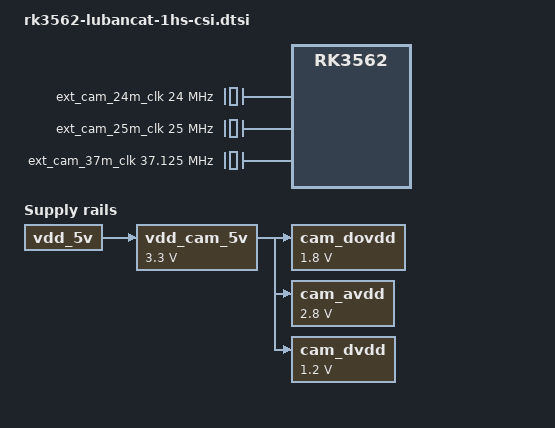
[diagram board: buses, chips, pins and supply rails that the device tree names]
// SPDX-License-Identifier: (GPL-2.0+ OR MIT)
/*
* Copyright (c) 2024 Rockchip Electronics Co., Ltd.
* Copyright (c) 2024 EmbedFire <embedfire@embedfire.com>
*
*/


/ {
	ext_cam_24m_clk: external-camera-24m-clock {
		compatible = "fixed-clock";
		#clock-cells = <0>;
		clock-frequency = <24000000>;
		clock-output-names = "ext_cam_24m_clk";
	};

	ext_cam_25m_clk: external-camera-25m-clock {
		compatible = "fixed-clock";
		clock-frequency = <25000000>;
		clock-output-names = "ext_cam_25m_clk";
		#clock-cells = <0>;
	};

	ext_cam_37m_clk: external-camera-37m-clock {
		compatible = "fixed-clock";
		#clock-cells = <0>;
		clock-frequency = <37125000>;
		clock-output-names = "ext_cam_37m_clk";
	};

	vdd_cam_5v: vdd-cam-5v-regulator {
		compatible = "regulator-fixed";
		regulator-name = "vdd_cam_5v";
		regulator-always-on;
		regulator-boot-on;
		regulator-min-microvolt = <3300000>;
		regulator-max-microvolt = <3300000>;
		vin-supply = <&vdd_5v>;
	};

	cam_dovdd: cam-dovdd {
		compatible = "regulator-fixed";
		regulator-name = "cam_dovdd";
		regulator-always-on;
		regulator-boot-on;
		regulator-min-microvolt = <1800000>;
		regulator-max-microvolt = <1800000>;
		vin-supply = <&vdd_cam_5v>;
	};

	cam_avdd: cam-avdd {
		compatible = "regulator-fixed";
		regulator-name = "cam_avdd";
		regulator-always-on;
		regulator-boot-on;
		regulator-min-microvolt = <2800000>;
		regulator-max-microvolt = <2800000>;
		vin-supply = <&vdd_cam_5v>;
	};

	cam_dvdd: cam-dvdd {
		compatible = "regulator-fixed";
		regulator-name = "cam_dvdd";
		regulator-always-on;
		regulator-boot-on;
		regulator-min-microvolt = <1200000>;
		regulator-max-microvolt = <1200000>;
		vin-supply = <&vdd_cam_5v>;
	};
};

//CAM0
&i2c0 {
	status = "disabled";

	dphy1_dw9714: dw9714@c {
		status = "disabled";
		compatible = "dongwoon,dw9714";
		reg = <0xc>;
		rockchip,camera-module-index = <0>;
		rockchip,vcm-max-current = <100>;
		rockchip,vcm-start-current = <0>;
		rockchip,vcm-rated-current = <100>;
		rockchip,vcm-step-mode = <0xd>;
		rockchip,vcm-dlc-enable = <0>;
		rockchip,vcm-mclk = <0>;
		rockchip,vcm-t-src = <0>;
		rockchip,camera-module-facing = "back";
	};

	dphy1_ov5647: ov5647@36 {
		compatible = "ovti,ov5647";
		status = "disabled";
		reg = <0x36>;
		clocks = <&ext_cam_25m_clk>;
		clock-names = "ext_cam_25m_clk";
		pwdn-gpios = <&gpio6 0 GPIO_ACTIVE_LOW>;
		lens-focus = <&dphy1_dw9714>;

		port {
			ov5647_dphy1_out: endpoint {
				remote-endpoint = <&dphy1_in_ov5647>;
				data-lanes = <1 2>;
			};
		};
	};

	dphy1_ov5648: ov5648@36 {
		compatible = "ovti,ov5648";
		status = "disabled";
		reg = <0x36>;
		clocks = <&ext_cam_24m_clk>;
		clock-names = "xvclk";
		dovdd-supply= <&cam_dovdd>; /* 1.8v */
		avdd-supply = <&cam_avdd>;  /* 2.8v */
		dvdd-supply = <&cam_dvdd>;  /* 1.2v */
		pwdn-gpios = <&gpio6 0 GPIO_ACTIVE_HIGH>;
		reset-gpios = <&gpio6 1 GPIO_ACTIVE_LOW>;
		rotation = <180>;

		rockchip,camera-module-index = <0>;
		rockchip,camera-module-facing = "back";
		rockchip,camera-module-name = "THDS11073";
		rockchip,camera-module-lens-name = "Largan-40122a1";
		lens-focus = <&dphy1_dw9714>;

		port {
			/* MIPI CSI-2 bus endpoint */
			ov5648_dphy1_out: endpoint {
				remote-endpoint = <&dphy1_in_ov5648>;
				clock-lanes = <0>;
				data-lanes = <1 2>;
			};
		};
	};

	dphy1_ov8858: ov8858@36 {
		compatible = "ovti,ov8858";
		status = "disabled";
		reg = <0x36>;
		clocks = <&ext_cam_24m_clk>;
		clock-names = "xvclk";
		dovdd-supply= <&cam_dovdd>; /* 1.8v */
		avdd-supply = <&cam_avdd>;  /* 2.8v */
		dvdd-supply = <&cam_dvdd>;  /* 1.2v */
		pwdn-gpios = <&gpio6 0 GPIO_ACTIVE_HIGH>;
		reset-gpios = <&gpio6 1 GPIO_ACTIVE_HIGH>;
		rotation = <180>;

		rockchip,camera-module-index = <0>;
		rockchip,camera-module-facing = "back";
		rockchip,camera-module-name = "HS5885-BNSM1018-V01";
		rockchip,camera-module-lens-name = "default";
		lens-focus = <&dphy1_dw9714>;

		port {
			/* MIPI CSI-2 bus endpoint */
			ov8858_dphy1_out: endpoint {
				remote-endpoint = <&dphy1_in_ov8858>;
				clock-lanes = <0>;
				data-lanes = <1 2>;
			};
		};
	};

	dphy1_ov13850: ov13850@10 {
		compatible = "ovti,ov13850";
		status = "disabled";
		reg = <0x10>;
		clocks = <&ext_cam_24m_clk>;
		clock-names = "xvclk";
		dovdd-supply= <&cam_dovdd>; /* 1.8v */
		avdd-supply = <&cam_avdd>;  /* 2.8v */
		dvdd-supply = <&cam_dvdd>;  /* 1.2v */
		pwdn-gpios = <&gpio6 0 GPIO_ACTIVE_HIGH>;
		reset-gpios = <&gpio6 1 GPIO_ACTIVE_HIGH>;
		rotation = <180>;

		rockchip,camera-module-index = <0>;
		rockchip,camera-module-facing = "back";
		rockchip,camera-module-name = "ZC-OV13850R2A-V1";
		rockchip,camera-module-lens-name = "Largan-50064B31";
		lens-focus = <&dphy1_dw9714>;

		port {
			/* MIPI CSI-2 bus endpoint */
			ov13850_dphy1_out: endpoint {
				remote-endpoint = <&dphy1_in_ov13850>;
				clock-lanes = <0>;
				data-lanes = <1 2>;
			};
		};
	};

	dphy1_imx415: imx415@1a {
		compatible = "sony,imx415";
		status = "disabled";
		reg = <0x1a>;
		clocks = <&ext_cam_37m_clk>;
		clock-names = "xvclk";
		dovdd-supply = <&cam_dovdd>;
		avdd-supply = <&cam_avdd>;
		dvdd-supply = <&cam_dvdd>;
		pwdn-gpios = <&gpio6 0 GPIO_ACTIVE_HIGH>;
		reset-gpios = <&gpio6 1 GPIO_ACTIVE_LOW>;

		rockchip,camera-module-index = <0>;
		rockchip,camera-module-facing = "back";
		rockchip,camera-module-name = "CMK-OT2022-PX1";
		rockchip,camera-module-lens-name = "IR0147-50IRC-8M-F20-4k";
		// NO_HDR:0 HDR_X2:5 HDR_X3:6
		// rockchip,camera-hdr-mode = <0>;
		port {
			imx415_dphy1_out: endpoint {
				remote-endpoint = <&dphy1_in_imx415>;
				data-lanes = <1 2>;
			};
		};
	};

	dphy1_gc08a8: gc08a8@31 {
		compatible = "galaxycore,gc08a8";
		status = "disabled";
		reg = <0x31>;
		clocks = <&ext_cam_24m_clk>;
		clock-names = "xvclk";
		dovdd-supply = <&cam_dovdd>;
		avdd-supply = <&cam_avdd>;
		dvdd-supply = <&cam_dvdd>;
		pwdn-gpios = <&gpio6 0 GPIO_ACTIVE_HIGH>;
		reset-gpios = <&gpio6 1 GPIO_ACTIVE_LOW>;

		rockchip,camera-module-index = <0>;
		rockchip,camera-module-facing = "back";
		rockchip,camera-module-name = "YT10120";
		rockchip,camera-module-lens-name = "30IRC-4M-F20";
		port {
			gc08a8_dphy1_out: endpoint {
				remote-endpoint = <&dphy1_in_gc08a8>;
				data-lanes = <1 2>;
			};
		};
	};

	dphy1_gc2053: gc2053@37 {
		compatible = "galaxycore,gc2053";
		status = "disabled";
		reg = <0x37>;
		clocks = <&ext_cam_24m_clk>;
		clock-names = "xvclk";
		dovdd-supply = <&cam_dovdd>;
		avdd-supply = <&cam_avdd>;
		dvdd-supply = <&cam_dvdd>;
		pwdn-gpios = <&gpio6 0 GPIO_ACTIVE_LOW>;
		reset-gpios = <&gpio6 1 GPIO_ACTIVE_LOW>;

		rockchip,camera-module-index = <0>;
		rockchip,camera-module-facing = "back";
		rockchip,camera-module-name = "SIDA205300461";
		rockchip,camera-module-lens-name = "60IRC-F20";
		port {
			gc2053_dphy1_out: endpoint {
				remote-endpoint = <&dphy1_in_gc2053>;
				data-lanes = <1 2>;
			};
		};
	};

	dphy1_gc4653: gc4653@29 {
		compatible = "galaxycore,gc4653";
		status = "disabled";
		reg = <0x29>;
		clocks = <&ext_cam_24m_clk>;
		clock-names = "xvclk";
		dovdd-supply = <&cam_dovdd>;
		avdd-supply = <&cam_avdd>;
		dvdd-supply = <&cam_dvdd>;
		pwdn-gpios = <&gpio6 0 GPIO_ACTIVE_HIGH>;
		reset-gpios = <&gpio6 1 GPIO_ACTIVE_HIGH>;

		rockchip,camera-module-index = <0>;
		rockchip,camera-module-facing = "back";
		rockchip,camera-module-name = "YT10120";
		rockchip,camera-module-lens-name = "30IRC-4M-F20";
		port {
			gc4653_dphy1_out: endpoint {
				remote-endpoint = <&dphy1_in_gc4653>;
				data-lanes = <1 2>;
			};
		};
	};
};

//CAM1
&i2c1 {
	status = "disabled";
	pinctrl-names = "default";
	pinctrl-0 = <&i2c1m1_xfer>;

	dphy2_dw9714: dw9714@c {
		status = "disabled";
		compatible = "dongwoon,dw9714";
		reg = <0xc>;
		rockchip,camera-module-index = <1>;
		rockchip,vcm-max-current = <100>;
		rockchip,vcm-start-current = <0>;
		rockchip,vcm-rated-current = <100>;
		rockchip,vcm-step-mode = <0xd>;
		rockchip,vcm-dlc-enable = <0>;
		rockchip,vcm-mclk = <0>;
		rockchip,vcm-t-src = <0>;
		rockchip,camera-module-facing = "back";
	};

	dphy2_ov5647: ov5647@36 {
		compatible = "ovti,ov5647";
		status = "disabled";
		reg = <0x36>;
		clocks = <&ext_cam_25m_clk>;
		clock-names = "ext_cam_25m_clk";
		pwdn-gpios = <&gpio6 2 GPIO_ACTIVE_LOW>;
		lens-focus = <&dphy2_dw9714>;

		port {
			ov5647_dphy2_out: endpoint {
				remote-endpoint = <&dphy2_in_ov5647>;
				data-lanes = <1 2>;
			};
		};
	};

	dphy2_ov5648: ov5648@36 {
		compatible = "ovti,ov5648";
		status = "disabled";
		reg = <0x36>;
		clocks = <&ext_cam_24m_clk>;
		clock-names = "xvclk";
		dovdd-supply= <&cam_dovdd>; /* 1.8v */
		avdd-supply = <&cam_avdd>;  /* 2.8v */
		dvdd-supply = <&cam_dvdd>;  /* 1.2v */
		pwdn-gpios = <&gpio6 2 GPIO_ACTIVE_HIGH>;
		reset-gpios = <&gpio6 3 GPIO_ACTIVE_LOW>;
		rotation = <180>;

		rockchip,camera-module-index = <1>;
		rockchip,camera-module-facing = "back";
		rockchip,camera-module-name = "THDS11073";
		rockchip,camera-module-lens-name = "Largan-40122a1";
		lens-focus = <&dphy2_dw9714>;

		port {
			/* MIPI CSI-2 bus endpoint */
			ov5648_dphy2_out: endpoint {
				remote-endpoint = <&dphy2_in_ov5648>;
				clock-lanes = <0>;
				data-lanes = <1 2>;
			};
		};
	};

	dphy2_ov8858: ov8858@36 {
		compatible = "ovti,ov8858";
		status = "disabled";
		reg = <0x36>;
		clocks = <&ext_cam_24m_clk>;
		clock-names = "xvclk";
		dovdd-supply= <&cam_dovdd>; /* 1.8v */
		avdd-supply = <&cam_avdd>;  /* 2.8v */
		dvdd-supply = <&cam_dvdd>;  /* 1.2v */
		pwdn-gpios = <&gpio6 2 GPIO_ACTIVE_HIGH>;
		reset-gpios = <&gpio6 3 GPIO_ACTIVE_HIGH>;
		rotation = <180>;

		rockchip,camera-module-index = <1>;
		rockchip,camera-module-facing = "back";
		rockchip,camera-module-name = "HS5885-BNSM1018-V01";
		rockchip,camera-module-lens-name = "default";
		lens-focus = <&dphy2_dw9714>;

		port {
			/* MIPI CSI-2 bus endpoint */
			ov8858_dphy2_out: endpoint {
				remote-endpoint = <&dphy2_in_ov8858>;
				clock-lanes = <0>;
				data-lanes = <1 2>;
			};
		};
	};

	dphy2_ov13850: ov13850@10 {
		compatible = "ovti,ov13850";
		status = "disabled";
		reg = <0x10>;
		clocks = <&ext_cam_24m_clk>;
		clock-names = "xvclk";
		dovdd-supply= <&cam_dovdd>; /* 1.8v */
		avdd-supply = <&cam_avdd>;  /* 2.8v */
		dvdd-supply = <&cam_dvdd>;  /* 1.2v */
		pwdn-gpios = <&gpio6 2 GPIO_ACTIVE_HIGH>;
		reset-gpios = <&gpio6 3 GPIO_ACTIVE_HIGH>;
		rotation = <180>;

		rockchip,camera-module-index = <1>;
		rockchip,camera-module-facing = "back";
		rockchip,camera-module-name = "ZC-OV13850R2A-V1";
		rockchip,camera-module-lens-name = "Largan-50064B31";
		lens-focus = <&dphy2_dw9714>;

		port {
			/* MIPI CSI-2 bus endpoint */
			ov13850_dphy2_out: endpoint {
				remote-endpoint = <&dphy2_in_ov13850>;
				clock-lanes = <0>;
				data-lanes = <1 2>;
			};
		};
	};

	dphy2_imx415: imx415@1a {
		compatible = "sony,imx415";
		status = "disabled";
		reg = <0x1a>;
		clocks = <&ext_cam_37m_clk>;
		clock-names = "xvclk";
		dovdd-supply = <&cam_dovdd>;
		avdd-supply = <&cam_avdd>;
		dvdd-supply = <&cam_dvdd>;
		pwdn-gpios = <&gpio6 2 GPIO_ACTIVE_HIGH>;
		reset-gpios = <&gpio6 3 GPIO_ACTIVE_LOW>;

		rockchip,camera-module-index = <1>;
		rockchip,camera-module-facing = "back";
		rockchip,camera-module-name = "CMK-OT2022-PX1";
		rockchip,camera-module-lens-name = "IR0147-50IRC-8M-F20-4k";
		// NO_HDR:0 HDR_X2:5 HDR_X3:6
		// rockchip,camera-hdr-mode = <0>;
		port {
			imx415_dphy2_out: endpoint {
				remote-endpoint = <&dphy2_in_imx415>;
				data-lanes = <1 2>;
			};
		};
	};

	dphy2_gc08a8: gc08a8@31 {
		compatible = "galaxycore,gc08a8";
		status = "disabled";
		reg = <0x31>;
		clocks = <&ext_cam_24m_clk>;
		clock-names = "xvclk";
		dovdd-supply = <&cam_dovdd>;
		avdd-supply = <&cam_avdd>;
		dvdd-supply = <&cam_dvdd>;
		pwdn-gpios = <&gpio6 2 GPIO_ACTIVE_HIGH>;
		reset-gpios = <&gpio6 3 GPIO_ACTIVE_LOW>;

		rockchip,camera-module-index = <1>;
		rockchip,camera-module-facing = "back";
		rockchip,camera-module-name = "YT10120";
		rockchip,camera-module-lens-name = "30IRC-4M-F20";
		port {
			gc08a8_dphy2_out: endpoint {
				remote-endpoint = <&dphy2_in_gc08a8>;
				data-lanes = <1 2>;
			};
		};
	};

	dphy2_gc2053: gc2053@37 {
		compatible = "galaxycore,gc2053";
		status = "disabled";
		reg = <0x37>;
		clocks = <&ext_cam_24m_clk>;
		clock-names = "xvclk";
		dovdd-supply = <&cam_dovdd>;
		avdd-supply = <&cam_avdd>;
		dvdd-supply = <&cam_dvdd>;
		pwdn-gpios = <&gpio6 2 GPIO_ACTIVE_LOW>;
		reset-gpios = <&gpio6 3 GPIO_ACTIVE_LOW>;

		rockchip,camera-module-index = <1>;
		rockchip,camera-module-facing = "back";
		rockchip,camera-module-name = "SIDA205300461";
		rockchip,camera-module-lens-name = "60IRC-F2";
		port {
			gc2053_dphy2_out: endpoint {
				remote-endpoint = <&dphy2_in_gc2053>;
				data-lanes = <1 2>;
			};
		};
	};

	dphy2_gc4653: gc4653@29 {
		compatible = "galaxycore,gc4653";
		status = "disabled";
		reg = <0x29>;
		clocks = <&ext_cam_24m_clk>;
		clock-names = "xvclk";
		dovdd-supply = <&cam_dovdd>;
		avdd-supply = <&cam_avdd>;
		dvdd-supply = <&cam_dvdd>;
		pwdn-gpios = <&gpio6 2 GPIO_ACTIVE_HIGH>;
		reset-gpios = <&gpio6 3 GPIO_ACTIVE_HIGH>;

		rockchip,camera-module-index = <1>;
		rockchip,camera-module-facing = "back";
		rockchip,camera-module-name = "YT10120";
		rockchip,camera-module-lens-name = "30IRC-4M-F20";
		port {
			gc4653_dphy2_out: endpoint {
				remote-endpoint = <&dphy2_in_gc4653>;
				data-lanes = <1 2>;
			};
		};
	};
};

//CAM2
&i2c2 {
	status = "disabled";
	pinctrl-names = "default";
	pinctrl-0 = <&i2c2m1_xfer>;

	dphy4_dw9714: dw9714@c {
		status = "disabled";
		compatible = "dongwoon,dw9714";
		reg = <0xc>;
		rockchip,camera-module-index = <2>;
		rockchip,vcm-max-current = <100>;
		rockchip,vcm-start-current = <0>;
		rockchip,vcm-rated-current = <100>;
		rockchip,vcm-step-mode = <0xd>;
		rockchip,vcm-dlc-enable = <0>;
		rockchip,vcm-mclk = <0>;
		rockchip,vcm-t-src = <0>;
		rockchip,camera-module-facing = "back";
	};

	dphy4_ov5647: ov5647@36 {
		compatible = "ovti,ov5647";
		status = "disabled";
		reg = <0x36>;
		clocks = <&ext_cam_25m_clk>;
		clock-names = "ext_cam_25m_clk";
		pwdn-gpios = <&gpio6 4 GPIO_ACTIVE_LOW>;
		lens-focus = <&dphy4_dw9714>;

		port {
			ov5647_dphy4_out: endpoint {
				remote-endpoint = <&dphy4_in_ov5647>;
				data-lanes = <1 2>;
			};
		};
	};

	dphy4_ov5648: ov5648@36 {
		compatible = "ovti,ov5648";
		status = "disabled";
		reg = <0x36>;
		clocks = <&ext_cam_24m_clk>;
		clock-names = "xvclk";
		dovdd-supply= <&cam_dovdd>; /* 1.8v */
		avdd-supply = <&cam_avdd>;  /* 2.8v */
		dvdd-supply = <&cam_dvdd>;  /* 1.2v */
		pwdn-gpios = <&gpio6 4 GPIO_ACTIVE_HIGH>;
		reset-gpios = <&gpio6 5 GPIO_ACTIVE_LOW>;
		rotation = <180>;

		rockchip,camera-module-index = <2>;
		rockchip,camera-module-facing = "back";
		rockchip,camera-module-name = "THDS11073";
		rockchip,camera-module-lens-name = "Largan-40122a1";
		lens-focus = <&dphy4_dw9714>;

		port {
			/* MIPI CSI-2 bus endpoint */
			ov5648_dphy4_out: endpoint {
				remote-endpoint = <&dphy4_in_ov5648>;
				clock-lanes = <0>;
				data-lanes = <1 2>;
			};
		};
	};

	dphy4_ov8858: ov8858@36 {
		compatible = "ovti,ov8858";
		status = "disabled";
		reg = <0x36>;
		clocks = <&ext_cam_24m_clk>;
		clock-names = "xvclk";
		dovdd-supply= <&cam_dovdd>; /* 1.8v */
		avdd-supply = <&cam_avdd>;  /* 2.8v */
		dvdd-supply = <&cam_dvdd>;  /* 1.2v */
		pwdn-gpios = <&gpio6 4 GPIO_ACTIVE_HIGH>;
		reset-gpios = <&gpio6 5 GPIO_ACTIVE_HIGH>;
		rotation = <180>;

		rockchip,camera-module-index = <2>;
		rockchip,camera-module-facing = "back";
		rockchip,camera-module-name = "HS5885-BNSM1018-V01";
		rockchip,camera-module-lens-name = "default";
		lens-focus = <&dphy4_dw9714>;

		port {
			/* MIPI CSI-2 bus endpoint */
			ov8858_dphy4_out: endpoint {
				remote-endpoint = <&dphy4_in_ov8858>;
				clock-lanes = <0>;
				data-lanes = <1 2>;
			};
		};
	};

	dphy4_ov13850: ov13850@10 {
		compatible = "ovti,ov13850";
		status = "disabled";
		reg = <0x10>;
		clocks = <&ext_cam_24m_clk>;
		clock-names = "xvclk";
		dovdd-supply= <&cam_dovdd>; /* 1.8v */
		avdd-supply = <&cam_avdd>;  /* 2.8v */
		dvdd-supply = <&cam_dvdd>;  /* 1.2v */
		pwdn-gpios = <&gpio6 4 GPIO_ACTIVE_HIGH>;
		reset-gpios = <&gpio6 5 GPIO_ACTIVE_HIGH>;
		rotation = <180>;

		rockchip,camera-module-index = <2>;
		rockchip,camera-module-facing = "back";
		rockchip,camera-module-name = "ZC-OV13850R2A-V1";
		rockchip,camera-module-lens-name = "Largan-50064B31";
		lens-focus = <&dphy4_dw9714>;

		port {
			/* MIPI CSI-2 bus endpoint */
			ov13850_dphy4_out: endpoint {
				remote-endpoint = <&dphy4_in_ov13850>;
				clock-lanes = <0>;
				data-lanes = <1 2>;
			};
		};
	};

	dphy4_imx415: imx415@1a {
		compatible = "sony,imx415";
		status = "disabled";
		reg = <0x1a>;
		clocks = <&ext_cam_37m_clk>;
		clock-names = "xvclk";
		dovdd-supply = <&cam_dovdd>;
		avdd-supply = <&cam_avdd>;
		dvdd-supply = <&cam_dvdd>;
		pwdn-gpios = <&gpio6 4 GPIO_ACTIVE_HIGH>;
		reset-gpios = <&gpio6 5 GPIO_ACTIVE_LOW>;

		rockchip,camera-module-index = <2>;
		rockchip,camera-module-facing = "back";
		rockchip,camera-module-name = "CMK-OT2022-PX1";
		rockchip,camera-module-lens-name = "IR0147-50IRC-8M-F20-4k";
		// NO_HDR:0 HDR_X2:5 HDR_X3:6
		// rockchip,camera-hdr-mode = <0>;
		port {
			imx415_dphy4_out: endpoint {
				remote-endpoint = <&dphy4_in_imx415>;
				data-lanes = <1 2>;
			};
		};
	};

	dphy4_gc08a8: gc08a8@31 {
		compatible = "galaxycore,gc08a8";
		status = "disabled";
		reg = <0x31>;
		clocks = <&ext_cam_24m_clk>;
		clock-names = "xvclk";
		dovdd-supply = <&cam_dovdd>;
		avdd-supply = <&cam_avdd>;
		dvdd-supply = <&cam_dvdd>;
		pwdn-gpios = <&gpio6 4 GPIO_ACTIVE_HIGH>;
		reset-gpios = <&gpio6 5 GPIO_ACTIVE_LOW>;

		rockchip,camera-module-index = <2>;
		rockchip,camera-module-facing = "back";
		rockchip,camera-module-name = "YT10120";
		rockchip,camera-module-lens-name = "30IRC-4M-F20";

		port {
			gc08a8_dphy4_out: endpoint {
				remote-endpoint = <&dphy4_in_gc08a8>;
				data-lanes = <1 2>;
			};
		};
	};

	dphy4_gc2053: gc08a8@37 {
		compatible = "galaxycore,gc2053";
		status = "disabled";
		reg = <0x37>;
		clocks = <&ext_cam_24m_clk>;
		clock-names = "xvclk";
		dovdd-supply = <&cam_dovdd>;
		avdd-supply = <&cam_avdd>;
		dvdd-supply = <&cam_dvdd>;
		pwdn-gpios = <&gpio6 4 GPIO_ACTIVE_LOW>;
		reset-gpios = <&gpio6 5 GPIO_ACTIVE_LOW>;

		rockchip,camera-module-index = <2>;
		rockchip,camera-module-facing = "back";
		rockchip,camera-module-name = "SIDA205300461";
		rockchip,camera-module-lens-name = "60IRC-F20";

		port {
			gc2053_dphy4_out: endpoint {
				remote-endpoint = <&dphy4_in_gc2053>;
				data-lanes = <1 2>;
			};
		};
	};

	dphy4_gc4653: gc4653@29 {
		compatible = "galaxycore,gc4653";
		status = "disabled";
		reg = <0x29>;
		clocks = <&ext_cam_24m_clk>;
		clock-names = "xvclk";
		dovdd-supply = <&cam_dovdd>;
		avdd-supply = <&cam_avdd>;
		dvdd-supply = <&cam_dvdd>;
		pwdn-gpios = <&gpio6 4 GPIO_ACTIVE_HIGH>;
		reset-gpios = <&gpio6 5 GPIO_ACTIVE_HIGH>;

		rockchip,camera-module-index = <2>;
		rockchip,camera-module-facing = "back";
		rockchip,camera-module-name = "YT10120";
		rockchip,camera-module-lens-name = "30IRC-4M-F20";

		port {
			gc4653_dphy4_out: endpoint {
				remote-endpoint = <&dphy4_in_gc4653>;
				data-lanes = <1 2>;
			};
		};
	};
};

//CAM3
&i2c5 {
	status = "disabled";
	pinctrl-names = "default";
	pinctrl-0 = <&i2c5m1_xfer>;

	dphy5_dw9714: dw9714@c {
		status = "disabled";
		compatible = "dongwoon,dw9714";
		reg = <0xc>;
		rockchip,camera-module-index = <3>;
		rockchip,vcm-max-current = <100>;
		rockchip,vcm-start-current = <0>;
		rockchip,vcm-rated-current = <100>;
		rockchip,vcm-step-mode = <0xd>;
		rockchip,vcm-dlc-enable = <0>;
		rockchip,vcm-mclk = <0>;
		rockchip,vcm-t-src = <0>;
		rockchip,camera-module-facing = "back";
	};

	dphy5_ov5647: ov5647@36 {
		compatible = "ovti,ov5647";
		status = "disabled";
		reg = <0x36>;
		clocks = <&ext_cam_25m_clk>;
		clock-names = "ext_cam_25m_clk";
		pwdn-gpios = <&gpio6 6 GPIO_ACTIVE_LOW>;
		lens-focus = <&dphy5_dw9714>;

		port {
			ov5647_dphy5_out: endpoint {
				remote-endpoint = <&dphy5_in_ov5647>;
				data-lanes = <1 2>;
			};
		};
	};

	dphy5_ov5648: ov5648@36 {
		compatible = "ovti,ov5648";
		status = "disabled";
		reg = <0x36>;
		clocks = <&ext_cam_24m_clk>;
		clock-names = "xvclk";
		dovdd-supply= <&cam_dovdd>; /* 1.8v */
		avdd-supply = <&cam_avdd>;  /* 2.8v */
		dvdd-supply = <&cam_dvdd>;  /* 1.2v */
		pwdn-gpios = <&gpio6 6 GPIO_ACTIVE_HIGH>;
		reset-gpios = <&gpio6 7 GPIO_ACTIVE_LOW>;
		rotation = <180>;

		rockchip,camera-module-index = <3>;
		rockchip,camera-module-facing = "back";
		rockchip,camera-module-name = "THDS11073";
		rockchip,camera-module-lens-name = "Largan-40122a1";
		lens-focus = <&dphy5_dw9714>;

		port {
			/* MIPI CSI-2 bus endpoint */
			ov5648_dphy5_out: endpoint {
				remote-endpoint = <&dphy5_in_ov5648>;
				clock-lanes = <0>;
				data-lanes = <1 2>;
			};
		};
	};

	dphy5_ov8858: ov8858@36 {
		compatible = "ovti,ov8858";
		status = "disabled";
		reg = <0x36>;
		clocks = <&ext_cam_24m_clk>;
		clock-names = "xvclk";
		dovdd-supply= <&cam_dovdd>; /* 1.8v */
		avdd-supply = <&cam_avdd>;  /* 2.8v */
		dvdd-supply = <&cam_dvdd>;  /* 1.2v */
		pwdn-gpios = <&gpio6 6 GPIO_ACTIVE_HIGH>;
		reset-gpios = <&gpio6 7 GPIO_ACTIVE_HIGH>;
		rotation = <180>;

		rockchip,camera-module-index = <3>;
		rockchip,camera-module-facing = "back";
		rockchip,camera-module-name = "HS5885-BNSM1018-V01";
		rockchip,camera-module-lens-name = "default";
		lens-focus = <&dphy5_dw9714>;

		port {
			/* MIPI CSI-2 bus endpoint */
			ov8858_dphy5_out: endpoint {
				remote-endpoint = <&dphy5_in_ov8858>;
				clock-lanes = <0>;
				data-lanes = <1 2>;
			};
		};
	};

	dphy5_ov13850: ov13850@10 {
		compatible = "ovti,ov13850";
		status = "disabled";
		reg = <0x10>;
		clocks = <&ext_cam_24m_clk>;
		clock-names = "xvclk";
		dovdd-supply= <&cam_dovdd>; /* 1.8v */
		avdd-supply = <&cam_avdd>;  /* 2.8v */
		dvdd-supply = <&cam_dvdd>;  /* 1.2v */
		pwdn-gpios = <&gpio6 6 GPIO_ACTIVE_HIGH>;
		reset-gpios = <&gpio6 7 GPIO_ACTIVE_HIGH>;
		rotation = <180>;

		rockchip,camera-module-index = <3>;
		rockchip,camera-module-facing = "back";
		rockchip,camera-module-name = "ZC-OV13850R2A-V1";
		rockchip,camera-module-lens-name = "Largan-50064B31";
		lens-focus = <&dphy5_dw9714>;

		port {
			/* MIPI CSI-2 bus endpoint */
			ov13850_dphy5_out: endpoint {
				remote-endpoint = <&dphy5_in_ov13850>;
				clock-lanes = <0>;
				data-lanes = <1 2>;
			};
		};
	};

	dphy5_imx415: imx415@1a {
		compatible = "sony,imx415";
		status = "disabled";
		reg = <0x1a>;
		clocks = <&ext_cam_37m_clk>;
		clock-names = "xvclk";
		dovdd-supply = <&cam_dovdd>;
		avdd-supply = <&cam_avdd>;
		dvdd-supply = <&cam_dvdd>;
		pwdn-gpios = <&gpio6 6 GPIO_ACTIVE_HIGH>;
		reset-gpios = <&gpio6 7 GPIO_ACTIVE_LOW>;

		rockchip,camera-module-index = <3>;
		rockchip,camera-module-facing = "back";
		rockchip,camera-module-name = "CMK-OT2022-PX1";
		rockchip,camera-module-lens-name = "IR0147-50IRC-8M-F20-4k";
		// NO_HDR:0 HDR_X2:5 HDR_X3:6
		// rockchip,camera-hdr-mode = <0>;
		port {
			imx415_dphy5_out: endpoint {
				remote-endpoint = <&dphy5_in_imx415>;
				data-lanes = <1 2>;
			};
		};
	};

	dphy5_gc08a8: gc08a8@31 {
		compatible = "galaxycore,gc08a8";
		status = "disabled";
		reg = <0x31>;
		clocks = <&ext_cam_24m_clk>;
		clock-names = "xvclk";
		dovdd-supply = <&cam_dovdd>;
		avdd-supply = <&cam_avdd>;
		dvdd-supply = <&cam_dvdd>;
		pwdn-gpios = <&gpio6 6 GPIO_ACTIVE_HIGH>;
		reset-gpios = <&gpio6 7 GPIO_ACTIVE_LOW>;

		rockchip,camera-module-index = <3>;
		rockchip,camera-module-facing = "back";
		rockchip,camera-module-name = "YT10120";
		rockchip,camera-module-lens-name = "30IRC-4M-F20";

		port {
			gc08a8_dphy5_out: endpoint {
				remote-endpoint = <&dphy5_in_gc08a8>;
				data-lanes = <1 2>;
			};
		};
	};

	dphy5_gc2053: gc2053@37 {
		compatible = "galaxycore,gc2053";
		status = "disabled";
		reg = <0x37>;
		clocks = <&ext_cam_24m_clk>;
		clock-names = "xvclk";
		dovdd-supply = <&cam_dovdd>;
		avdd-supply = <&cam_avdd>;
		dvdd-supply = <&cam_dvdd>;
		pwdn-gpios = <&gpio6 6 GPIO_ACTIVE_LOW>;
		reset-gpios = <&gpio6 7 GPIO_ACTIVE_LOW>;

		rockchip,camera-module-index = <3>;
		rockchip,camera-module-facing = "back";
		rockchip,camera-module-name = "SIDA205300461";
		rockchip,camera-module-lens-name = "60IRC-F20";

		port {
			gc2053_dphy5_out: endpoint {
				remote-endpoint = <&dphy5_in_gc2053>;
				data-lanes = <1 2>;
			};
		};
	};

	dphy5_gc4653: gc4653@29 {
		compatible = "galaxycore,gc4653";
		status = "disabled";
		reg = <0x29>;
		clocks = <&ext_cam_24m_clk>;
		clock-names = "xvclk";
		dovdd-supply = <&cam_dovdd>;
		avdd-supply = <&cam_avdd>;
		dvdd-supply = <&cam_dvdd>;
		pwdn-gpios = <&gpio6 6 GPIO_ACTIVE_HIGH>;
		reset-gpios = <&gpio6 7 GPIO_ACTIVE_HIGH>;

		rockchip,camera-module-index = <3>;
		rockchip,camera-module-facing = "back";
		rockchip,camera-module-name = "YT10120";
		rockchip,camera-module-lens-name = "30IRC-4M-F20";

		port {
			gc4653_dphy5_out: endpoint {
				remote-endpoint = <&dphy5_in_gc4653>;
				data-lanes = <1 2>;
			};
		};
	};
};

//CAM0
/* Link path: sensor->csi2_dphy1->mipi0_csi2->rkcif_mipi_lvds--->rkcif_mipi_lvds_sditf->rkisp_vir0 */
&csi2_dphy1 {
	status = "disabled";

	ports {
		#address-cells = <1>;
		#size-cells = <0>;
		port@0 {
			reg = <0>;
			#address-cells = <1>;
			#size-cells = <0>;

			dphy1_in_ov5647: endpoint@1 {
				reg = <1>;
				remote-endpoint = <&ov5647_dphy1_out>;
				data-lanes = <1 2>;
			};

			dphy1_in_ov5648: endpoint@2 {
				reg = <2>;
				remote-endpoint = <&ov5648_dphy1_out>;
				data-lanes = <1 2>;
			};

			dphy1_in_ov8858: endpoint@3 {
				reg = <3>;
				remote-endpoint = <&ov8858_dphy1_out>;
				data-lanes = <1 2>;
			};

			dphy1_in_ov13850: endpoint@4 {
				reg = <4>;
				remote-endpoint = <&ov13850_dphy1_out>;
				data-lanes = <1 2>;
			};

			dphy1_in_imx415: endpoint@5 {
				reg = <5>;
				remote-endpoint = <&imx415_dphy1_out>;
				data-lanes = <1 2>;
			};

			dphy1_in_gc08a8: endpoint@6 {
				reg = <6>;
				remote-endpoint = <&gc08a8_dphy1_out>;
				data-lanes = <1 2>;
			};

			dphy1_in_gc2053: endpoint@7 {
				reg = <7>;
				remote-endpoint = <&gc2053_dphy1_out>;
				data-lanes = <1 2>;
			};

			dphy1_in_gc4653: endpoint@8 {
				reg = <8>;
				remote-endpoint = <&gc4653_dphy1_out>;
				data-lanes = <1 2>;
			};
		};

		port@1 {
			reg = <1>;
			#address-cells = <1>;
			#size-cells = <0>;

			csidphy1_out: endpoint@0 {
				reg = <0>;
				remote-endpoint = <&mipi0_csi2_input>;
			};
		};
	};
};

//CAM1
/* Link path: sensor->csi2_dphy2->mipi1_csi2->rkcif_mipi_lvds1--->rkcif_mipi_lvds1_sditf->rkisp_vir1 */
&csi2_dphy2 {
	status = "disabled";

	ports {
		#address-cells = <1>;
		#size-cells = <0>;
		port@0 {
			reg = <0>;
			#address-cells = <1>;
			#size-cells = <0>;

			dphy2_in_ov5647: endpoint@1 {
				reg = <1>;
				remote-endpoint = <&ov5647_dphy2_out>;
				data-lanes = <1 2>;
			};

			dphy2_in_ov5648: endpoint@2 {
				reg = <2>;
				remote-endpoint = <&ov5648_dphy2_out>;
				data-lanes = <1 2>;
			};

			dphy2_in_ov8858: endpoint@3 {
				reg = <3>;
				remote-endpoint = <&ov8858_dphy2_out>;
				data-lanes = <1 2>;
			};

			dphy2_in_ov13850: endpoint@4 {
				reg = <4>;
				remote-endpoint = <&ov13850_dphy2_out>;
				data-lanes = <1 2>;
			};

			dphy2_in_imx415: endpoint@5 {
				reg = <5>;
				remote-endpoint = <&imx415_dphy2_out>;
				data-lanes = <1 2>;
			};

			dphy2_in_gc08a8: endpoint@6 {
				reg = <6>;
				remote-endpoint = <&gc08a8_dphy2_out>;
				data-lanes = <1 2>;
			};

			dphy2_in_gc2053: endpoint@7 {
				reg = <7>;
				remote-endpoint = <&gc2053_dphy2_out>;
				data-lanes = <1 2>;
			};

			dphy2_in_gc4653: endpoint@8 {
				reg = <8>;
				remote-endpoint = <&gc4653_dphy2_out>;
				data-lanes = <1 2>;
			};
		};

		port@1 {
			reg = <1>;
			#address-cells = <1>;
			#size-cells = <0>;

			csidphy2_out: endpoint@0 {
				reg = <0>;
				remote-endpoint = <&mipi1_csi2_input>;
			};
		};
	};
};

//CAM2
/* Link path: sensor->csi2_dphy4->mipi2_csi2->rkcif_mipi_lvds2--->rkcif_mipi_lvds2_sditf->rkisp_vir2 */
&csi2_dphy4 {
	status = "disabled";

	ports {
		#address-cells = <1>;
		#size-cells = <0>;
		port@0 {
			reg = <0>;
			#address-cells = <1>;
			#size-cells = <0>;

			dphy4_in_ov5647: endpoint@1 {
				reg = <1>;
				remote-endpoint = <&ov5647_dphy4_out>;
				data-lanes = <1 2>;
			};

			dphy4_in_ov5648: endpoint@2 {
				reg = <2>;
				remote-endpoint = <&ov5648_dphy4_out>;
				data-lanes = <1 2>;
			};

			dphy4_in_ov8858: endpoint@3 {
				reg = <3>;
				remote-endpoint = <&ov8858_dphy4_out>;
				data-lanes = <1 2>;
			};

			dphy4_in_ov13850: endpoint@4 {
				reg = <4>;
				remote-endpoint = <&ov13850_dphy4_out>;
				data-lanes = <1 2>;
			};

			dphy4_in_imx415: endpoint@5 {
				reg = <5>;
				remote-endpoint = <&imx415_dphy4_out>;
				data-lanes = <1 2>;
			};

			dphy4_in_gc08a8: endpoint@6 {
				reg = <6>;
				remote-endpoint = <&gc08a8_dphy4_out>;
				data-lanes = <1 2>;
			};

			dphy4_in_gc2053: endpoint@7 {
				reg = <7>;
				remote-endpoint = <&gc2053_dphy4_out>;
				data-lanes = <1 2>;
			};

			dphy4_in_gc4653: endpoint@8 {
				reg = <8>;
				remote-endpoint = <&gc4653_dphy4_out>;
				data-lanes = <1 2>;
			};
		};

		port@1 {
			reg = <1>;
			#address-cells = <1>;
			#size-cells = <0>;

			csidphy4_out: endpoint@0 {
				reg = <0>;
				remote-endpoint = <&mipi2_csi2_input>;
			};
		};
	};
};

//CAM3
/* Link path: sensor->csi2_dphy5->mipi3_csi2->rkcif_mipi_lvds3--->rkcif_mipi_lvds3_sditf->rkisp_vir3 */
&csi2_dphy5 {
	status = "disabled";

	ports {
		#address-cells = <1>;
		#size-cells = <0>;
		port@0 {
			reg = <0>;
			#address-cells = <1>;
			#size-cells = <0>;

			dphy5_in_ov5647: endpoint@1 {
				reg = <1>;
				remote-endpoint = <&ov5647_dphy5_out>;
				data-lanes = <1 2>;
			};

			dphy5_in_ov5648: endpoint@2 {
				reg = <2>;
				remote-endpoint = <&ov5648_dphy5_out>;
				data-lanes = <1 2>;
			};

			dphy5_in_ov8858: endpoint@3 {
				reg = <3>;
				remote-endpoint = <&ov8858_dphy5_out>;
				data-lanes = <1 2>;
			};

			dphy5_in_ov13850: endpoint@4 {
				reg = <4>;
				remote-endpoint = <&ov13850_dphy5_out>;
				data-lanes = <1 2>;
			};

			dphy5_in_imx415: endpoint@5 {
				reg = <5>;
				remote-endpoint = <&imx415_dphy5_out>;
				data-lanes = <1 2>;
			};

			dphy5_in_gc08a8: endpoint@6 {
				reg = <6>;
				remote-endpoint = <&gc08a8_dphy5_out>;
				data-lanes = <1 2>;
			};

			dphy5_in_gc2053: endpoint@7 {
				reg = <7>;
				remote-endpoint = <&gc2053_dphy5_out>;
				data-lanes = <1 2>;
			};

			dphy5_in_gc4653: endpoint@8 {
				reg = <8>;
				remote-endpoint = <&gc4653_dphy5_out>;
				data-lanes = <1 2>;
			};
		};

		port@1 {
			reg = <1>;
			#address-cells = <1>;
			#size-cells = <0>;

			csidphy5_out: endpoint@0 {
				reg = <0>;
				remote-endpoint = <&mipi3_csi2_input>;
			};
		};
	};
};

//CAM0
&mipi0_csi2 {
	status = "disabled";

	ports {
		#address-cells = <1>;
		#size-cells = <0>;

		port@0 {
			reg = <0>;
			#address-cells = <1>;
			#size-cells = <0>;

			mipi0_csi2_input: endpoint@1 {
				reg = <1>;
				remote-endpoint = <&csidphy1_out>;
			};
		};

		port@1 {
			reg = <1>;
			#address-cells = <1>;
			#size-cells = <0>;

			mipi0_csi2_output: endpoint@0 {
				reg = <0>;
				remote-endpoint = <&cif_mipi_in0>;
			};
		};
	};
};

//CAM1
&mipi1_csi2 {
	status = "disabled";

	ports {
		#address-cells = <1>;
		#size-cells = <0>;

		port@0 {
			reg = <0>;
			#address-cells = <1>;
			#size-cells = <0>;

			mipi1_csi2_input: endpoint@1 {
				reg = <1>;
				remote-endpoint = <&csidphy2_out>;
			};
		};

		port@1 {
			reg = <1>;
			#address-cells = <1>;
			#size-cells = <0>;

			mipi1_csi2_output: endpoint@0 {
				reg = <0>;
				remote-endpoint = <&cif_mipi_in1>;
			};
		};
	};
};

//CAM2
&mipi2_csi2 {
	status = "disabled";

	ports {
		#address-cells = <1>;
		#size-cells = <0>;

		port@0 {
			reg = <0>;
			#address-cells = <1>;
			#size-cells = <0>;

			mipi2_csi2_input: endpoint@1 {
				reg = <1>;
				remote-endpoint = <&csidphy4_out>;
			};
		};

		port@1 {
			reg = <1>;
			#address-cells = <1>;
			#size-cells = <0>;

			mipi2_csi2_output: endpoint@0 {
				reg = <0>;
				remote-endpoint = <&cif_mipi_in2>;
			};
		};
	};
};

//CAM3
&mipi3_csi2 {
	status = "disabled";

	ports {
		#address-cells = <1>;
		#size-cells = <0>;

		port@0 {
			reg = <0>;
			#address-cells = <1>;
			#size-cells = <0>;

			mipi3_csi2_input: endpoint@1 {
				reg = <1>;
				remote-endpoint = <&csidphy5_out>;
			};
		};

		port@1 {
			reg = <1>;
			#address-cells = <1>;
			#size-cells = <0>;

			mipi3_csi2_output: endpoint@0 {
				reg = <0>;
				remote-endpoint = <&cif_mipi_in3>;
			};
		};
	};
};

//CAM0
&rkcif_mipi_lvds {
	status = "disabled";

	port {
		cif_mipi_in0: endpoint {
			remote-endpoint = <&mipi0_csi2_output>;
		};
	};
};

//CAM1
&rkcif_mipi_lvds1 {
	status = "disabled";

	port {
		cif_mipi_in1: endpoint {
			remote-endpoint = <&mipi1_csi2_output>;
		};
	};
};

//CAM2
&rkcif_mipi_lvds2 {
	status = "disabled";

	port {
		cif_mipi_in2: endpoint {
			remote-endpoint = <&mipi2_csi2_output>;
		};
	};
};

//CAM3
&rkcif_mipi_lvds3 {
	status = "disabled";

	port {
		cif_mipi_in3: endpoint {
			remote-endpoint = <&mipi3_csi2_output>;
		};
	};
};

//CAM0
&rkcif_mipi_lvds_sditf {
	status = "disabled";

	port {
		mipi_lvds_sditf: endpoint {
			remote-endpoint = <&isp_vir0>;
		};
	};
};

//CAM1
&rkcif_mipi_lvds1_sditf {
	status = "disabled";

	port {
		mipi_lvds1_sditf: endpoint {
			remote-endpoint = <&isp_vir1>;
		};
	};
};

//CAM2
&rkcif_mipi_lvds2_sditf {
	status = "disabled";

	port {
		mipi_lvds2_sditf: endpoint {
			remote-endpoint = <&isp_vir2>;
		};
	};
};

//CAM3
&rkcif_mipi_lvds3_sditf {
	status = "disabled";

	port {
		mipi_lvds3_sditf: endpoint {
			remote-endpoint = <&isp_vir3>;
		};
	};
};

//CAM0
&rkisp_vir0 {
	status = "disabled";

	port {
		#address-cells = <1>;
		#size-cells = <0>;

		isp_vir0: endpoint@0 {
			reg = <0>;
			remote-endpoint = <&mipi_lvds_sditf>;
		};
	};
};

//CAM1
&rkisp_vir1 {
	status = "disabled";

	port {
		#address-cells = <1>;
		#size-cells = <0>;

		isp_vir1: endpoint@0 {
			reg = <0>;
			remote-endpoint = <&mipi_lvds1_sditf>;
		};
	};
};

//CAM2
&rkisp_vir2 {
	status = "disabled";

	port {
		#address-cells = <1>;
		#size-cells = <0>;

		isp_vir2: endpoint@0 {
			reg = <0>;
			remote-endpoint = <&mipi_lvds2_sditf>;
		};
	};
};

//CAM3
&rkisp_vir3 {
	status = "disabled";

	port {
		#address-cells = <1>;
		#size-cells = <0>;

		isp_vir3: endpoint@0 {
			reg = <0>;
			remote-endpoint = <&mipi_lvds3_sditf>;
		};
	};
};
